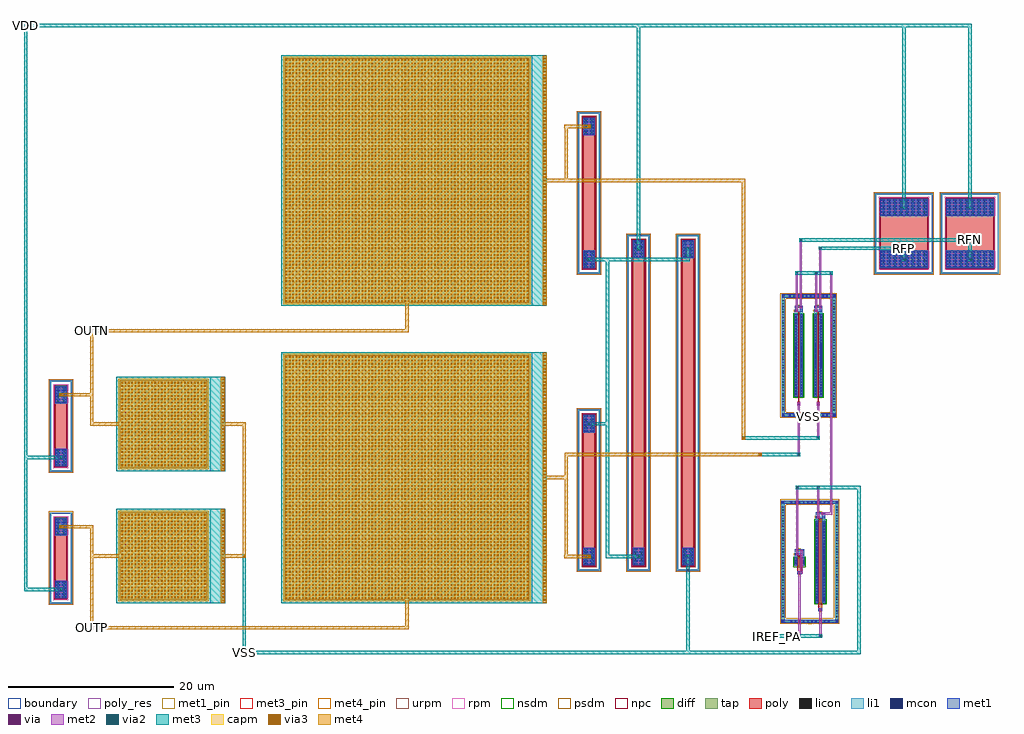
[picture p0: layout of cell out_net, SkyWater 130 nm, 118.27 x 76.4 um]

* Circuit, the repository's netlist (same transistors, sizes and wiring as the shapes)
.subckt out_net OUTP OUTN RFP RFN IREF_PA VDD VSS
XRLp VDD OUTP VSS sky130_fd_pr__res_high_po_1p41 L=5.6 mult=1 m=1
XRLn VDD OUTN VSS sky130_fd_pr__res_high_po_1p41 L=5.6 mult=1 m=1
XCLp OUTP VSS sky130_fd_pr__cap_mim_m3_1 W=11 L=11 MF=1 m=1
XCLn OUTN VSS sky130_fd_pr__cap_mim_m3_1 W=11 L=11 MF=1 m=1
XCcp OUTP PG sky130_fd_pr__cap_mim_m3_1 W=31 L=31 MF=1 m=1
XCcn OUTN NG sky130_fd_pr__cap_mim_m3_1 W=31 L=31 MF=1 m=1
XRbp PG VB VSS sky130_fd_pr__res_xhigh_po_1p41 L=14.1 mult=1 m=1
XRbn NG VB VSS sky130_fd_pr__res_xhigh_po_1p41 L=14.1 mult=1 m=1
XRv1 VDD VB VSS sky130_fd_pr__res_xhigh_po_1p41 L=35.25 mult=1 m=1
XRv2 VB VSS VSS sky130_fd_pr__res_xhigh_po_1p41 L=35.25 mult=1 m=1
XPA1 RFN PG PTAIL VSS sky130_fd_pr__nfet_01v8 W=10 L=0.15 nf=1 m=1
XPA2 RFP NG PTAIL VSS sky130_fd_pr__nfet_01v8 W=10 L=0.15 nf=1 m=1
XRPAp VDD RFP VSS sky130_fd_pr__res_high_po_5p73 L=4.3 mult=1 m=1
XRPAn VDD RFN VSS sky130_fd_pr__res_high_po_5p73 L=4.3 mult=1 m=1
XPAB IREF_PA IREF_PA VSS VSS sky130_fd_pr__nfet_01v8 W=1 L=0.5 nf=1 m=1
XPAT PTAIL IREF_PA VSS VSS sky130_fd_pr__nfet_01v8 W=10 L=0.5 nf=1 m=1
.ends out_net

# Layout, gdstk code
import gdstk
lib = gdstk.Library(unit=1e-6, precision=5e-09)
def R(c, l, rs):  # rectangles x0, y0, x1, y1
    for r in rs: c.add(gdstk.rectangle(r[:2], r[2:], *l))
def A(c, l, x, y, w, h, nx, ny, dx, dy):  # array of equal rectangles
    R(c, l, [(x+i*dx, y+j*dy, x+i*dx+w, y+j*dy+h) for i in range(nx) for j in range(ny)])
def P(c, l, *ps):  # polygons
    for p in ps: c.add(gdstk.Polygon(p, *l))
diff = (65, 20)
tap = (65, 44)
poly_res = (66, 13)
poly = (66, 20)
licon = (66, 44)
li1 = (67, 20)
mcon = (67, 44)
met1_pin = (68, 16)
met1 = (68, 20)
via = (68, 44)
met2 = (69, 20)
via2 = (69, 44)
met3_pin = (70, 16)
met3 = (70, 20)
via3 = (70, 44)
met4_pin = (71, 16)
met4 = (71, 20)
urpm = (79, 20)
rpm = (86, 20)
capm = (89, 44)
nsdm = (93, 44)
psdm = (94, 20)
npc = (95, 20)
boundary = (235, 4)

out_net = lib.new_cell('out_net')
A(out_net, diff, 81.585, -2.405, 0.41, 0.41, 10, 2, 0.5, 14.42)
A(out_net, diff, 80.59, -1.825, 0.41, 0.41, 1, 40, 0, 0.34)
A(out_net, diff, 87.08, -1.825, 0.41, 0.41, 1, 40, 0, 0.34)
A(out_net, diff, 81.415, 22.595, 0.41, 0.41, 10, 2, 0.5, 14.42)
A(out_net, diff, 80.595, 23.175, 0.41, 0.41, 1, 40, 0, 0.34)
A(out_net, diff, 86.735, 23.175, 0.41, 0.41, 1, 40, 0, 0.34)
R(out_net, diff, [(81.585,-2.405,86.495,-1.995), (80.59,-1.825,81,11.845), (87.08,-1.825,87.49,11.845), (84.67,0,85.95,10), (82.13,4.5,83.41,5.5), (81.585,12.015,86.495,12.425), (81.415,22.595,86.325,23.005), (80.595,23.175,81.005,36.845), (86.735,23.175,87.145,36.845), (82.13,25,83.23,35), (84.5,25,85.6,35), (81.415,37.015,86.325,37.425)])
P(out_net, diff, [(87.49,12.425),(80.59,12.425),(80.59,-1.995),(81,-1.995),(81,12.015),(87.08,12.015),(87.08,-1.995),(81,-1.995),(80.59,-1.995),(80.59,-2.405),(87.49,-2.405)],
  [(87.145,37.425),(80.595,37.425),(80.595,23.005),(81.005,23.005),(81.005,37.015),(86.735,37.015),(86.735,23.005),(81.005,23.005),(80.595,23.005),(80.595,22.595),(87.145,22.595)])
A(out_net, tap, 55.915, 3.915, 2.71, 0.17, 3, 1, 6, 0)
R(out_net, tap, [(-8.085,-0.085,-5.375,0.085), (-8.085,0.085,-7.915,10.805), (-5.545,0.085,-5.375,10.805), (55.915,4.085,56.085,23.305), (58.455,4.085,58.625,23.305), (61.915,4.085,62.085,44.455), (64.455,4.085,64.625,44.455), (67.915,4.085,68.085,44.455), (70.455,4.085,70.625,44.455), (-8.085,10.805,-5.375,10.975), (-8.085,15.915,-5.375,16.085), (-8.085,16.085,-7.915,26.805), (-5.545,16.085,-5.375,26.805), (55.915,23.305,58.625,23.475), (-8.085,26.805,-5.375,26.975), (55.915,39.915,58.625,40.085), (91.915,39.915,98.945,40.085), (99.915,39.915,106.945,40.085), (55.915,40.085,56.085,59.305), (58.455,40.085,58.625,59.305), (91.915,40.085,92.085,49.505), (98.775,40.085,98.945,49.505), (99.915,40.085,100.085,49.505), (106.775,40.085,106.945,49.505), (61.915,44.455,64.625,44.625), (67.915,44.455,70.625,44.625), (91.915,49.505,98.945,49.675), (99.915,49.505,106.945,49.675), (55.915,59.305,58.625,59.475)])
R(out_net, poly_res, [(-7.435,2.645,-6.025,8.245), (56.565,6.645,57.975,20.745), (62.565,6.645,63.975,41.895), (68.565,6.645,69.975,41.895), (-7.435,18.645,-6.025,24.245), (56.565,42.645,57.975,56.745), (92.565,42.645,98.295,46.945), (100.565,42.645,106.295,46.945)])
R(out_net, poly, [(85.06,-0.98,85.56,-0.65), (85.145,-0.98,85.475,-0.65), (85.06,-0.65,85.56,-0.25), (85.06,-0.25,85.56,10.25), (-7.435,0.565,-6.025,10.325), (82.52,3.52,83.02,3.85), (82.605,3.52,82.935,3.85), (82.52,3.85,83.02,4.25), (82.52,4.25,83.02,5.75), (56.565,4.565,57.975,22.825), (62.565,4.565,63.975,43.975), (68.565,4.565,69.975,43.975), (-7.435,16.565,-6.025,26.325), (82.515,24.02,82.845,24.35), (82.515,24.02,82.845,24.35), (84.885,24.02,85.215,24.35), (84.885,24.02,85.215,24.35), (82.605,24.35,82.755,24.75), (84.975,24.35,85.125,24.75), (82.605,24.75,82.755,35.25), (84.975,24.75,85.125,35.25), (56.565,40.565,57.975,58.825), (92.565,40.565,98.295,49.025), (100.565,40.565,106.295,49.025)])
A(out_net, licon, 81.705, -2.285, 0.17, 0.17, 10, 2, 0.5, 14.42)
A(out_net, licon, 80.71, -1.705, 0.17, 0.17, 1, 40, 0, 0.34)
A(out_net, licon, 87.2, -1.705, 0.17, 0.17, 1, 40, 0, 0.34)
A(out_net, licon, -7.495, -0.085, 0.17, 0.17, 5, 2, 0.34, 10.89)
A(out_net, licon, 84.81, 0.325, 0.17, 0.17, 1, 28, 0, 0.34)
A(out_net, licon, 85.64, 0.325, 0.17, 0.17, 1, 28, 0, 0.34)
A(out_net, licon, -8.085, 0.43, 0.17, 0.17, 1, 30, 0, 0.34)
A(out_net, licon, -5.545, 0.43, 0.17, 0.17, 1, 30, 0, 0.34)
A(out_net, licon, 56.505, 3.915, 0.17, 0.17, 5, 2, 0.34, 19.39)
A(out_net, licon, 62.505, 3.915, 0.17, 0.17, 5, 2, 0.34, 40.54)
A(out_net, licon, 68.505, 3.915, 0.17, 0.17, 5, 2, 0.34, 40.54)
A(out_net, licon, 55.915, 4.43, 0.17, 0.17, 1, 55, 0, 0.34)
A(out_net, licon, 58.455, 4.43, 0.17, 0.17, 1, 55, 0, 0.34)
A(out_net, licon, 61.915, 4.465, 0.17, 0.17, 1, 117, 0, 0.34)
A(out_net, licon, 64.455, 4.465, 0.17, 0.17, 1, 117, 0, 0.34)
A(out_net, licon, 67.915, 4.465, 0.17, 0.17, 1, 117, 0, 0.34)
A(out_net, licon, 70.455, 4.465, 0.17, 0.17, 1, 117, 0, 0.34)
A(out_net, licon, -7.495, 15.915, 0.17, 0.17, 5, 2, 0.34, 10.89)
A(out_net, licon, -8.085, 16.43, 0.17, 0.17, 1, 30, 0, 0.34)
A(out_net, licon, -5.545, 16.43, 0.17, 0.17, 1, 30, 0, 0.34)
A(out_net, licon, 81.535, 22.715, 0.17, 0.17, 10, 2, 0.5, 14.42)
A(out_net, licon, 80.715, 23.295, 0.17, 0.17, 1, 40, 0, 0.34)
A(out_net, licon, 86.855, 23.295, 0.17, 0.17, 1, 40, 0, 0.34)
A(out_net, licon, 82.27, 25.325, 0.17, 0.17, 1, 28, 0, 0.34)
A(out_net, licon, 82.92, 25.325, 0.17, 0.17, 1, 28, 0, 0.34)
A(out_net, licon, 84.64, 25.325, 0.17, 0.17, 1, 28, 0, 0.34)
A(out_net, licon, 85.29, 25.325, 0.17, 0.17, 1, 28, 0, 0.34)
A(out_net, licon, 56.505, 39.915, 0.17, 0.17, 5, 2, 0.34, 19.39)
A(out_net, licon, 92.455, 39.915, 0.17, 0.17, 18, 2, 0.34, 9.59)
A(out_net, licon, 100.455, 39.915, 0.17, 0.17, 18, 2, 0.34, 9.59)
A(out_net, licon, 55.915, 40.43, 0.17, 0.17, 1, 55, 0, 0.34)
A(out_net, licon, 58.455, 40.43, 0.17, 0.17, 1, 55, 0, 0.34)
A(out_net, licon, 91.915, 40.46, 0.17, 0.17, 1, 26, 0, 0.34)
A(out_net, licon, 98.775, 40.46, 0.17, 0.17, 1, 26, 0, 0.34)
A(out_net, licon, 99.915, 40.46, 0.17, 0.17, 1, 26, 0, 0.34)
A(out_net, licon, 106.775, 40.46, 0.17, 0.17, 1, 26, 0, 0.34)
A(out_net, licon, 92.85, 40.645, 0.19, 2, 8, 2, 0.71, 6.3)
A(out_net, licon, 100.85, 40.645, 0.19, 2, 8, 2, 0.71, 6.3)
R(out_net, licon, [(85.225,-0.9,85.395,-0.73), (-7.18,0.645,-6.99,2.645), (-6.47,0.645,-6.28,2.645), (82.685,3.6,82.855,3.77), (56.82,4.645,57.01,6.645), (57.53,4.645,57.72,6.645), (62.82,4.645,63.01,6.645), (63.53,4.645,63.72,6.645), (68.82,4.645,69.01,6.645), (69.53,4.645,69.72,6.645), (82.27,4.915,82.44,5.085), (83.1,4.915,83.27,5.085), (-7.18,8.245,-6.99,10.245), (-6.47,8.245,-6.28,10.245), (-7.18,16.645,-6.99,18.645), (-6.47,16.645,-6.28,18.645), (56.82,20.745,57.01,22.745), (57.53,20.745,57.72,22.745), (82.595,24.1,82.765,24.27), (84.965,24.1,85.135,24.27), (-7.18,24.245,-6.99,26.245), (-6.47,24.245,-6.28,26.245), (56.82,40.645,57.01,42.645), (57.53,40.645,57.72,42.645), (62.82,41.895,63.01,43.895), (63.53,41.895,63.72,43.895), (68.82,41.895,69.01,43.895), (69.53,41.895,69.72,43.895), (56.82,56.745,57.01,58.745), (57.53,56.745,57.72,58.745)])
A(out_net, li1, 81.625, -2.365, 0.33, 0.33, 10, 2, 0.5, 14.42)
A(out_net, li1, 80.63, -1.785, 0.33, 0.33, 1, 40, 0, 0.34)
A(out_net, li1, 87.12, -1.785, 0.33, 0.33, 1, 40, 0, 0.34)
A(out_net, li1, 84.81, 0.235, 0.17, 0.17, 1, 27, 0, 0.36)
A(out_net, li1, 85.64, 0.235, 0.17, 0.17, 1, 27, 0, 0.36)
A(out_net, li1, 84.73, 0.245, 0.33, 0.33, 1, 28, 0, 0.34)
A(out_net, li1, 85.56, 0.245, 0.33, 0.33, 1, 28, 0, 0.34)
A(out_net, li1, 55.915, 3.915, 2.71, 0.17, 3, 1, 6, 0)
A(out_net, li1, 56.565, 4.565, 1.41, 2.16, 3, 1, 6, 0)
A(out_net, li1, 81.455, 22.635, 0.33, 0.33, 10, 2, 0.5, 14.42)
A(out_net, li1, 80.635, 23.215, 0.33, 0.33, 1, 40, 0, 0.34)
A(out_net, li1, 86.775, 23.215, 0.33, 0.33, 1, 40, 0, 0.34)
A(out_net, li1, 82.27, 25.235, 0.17, 0.17, 1, 27, 0, 0.36)
A(out_net, li1, 82.92, 25.235, 0.17, 0.17, 1, 27, 0, 0.36)
A(out_net, li1, 84.64, 25.235, 0.17, 0.17, 1, 27, 0, 0.36)
A(out_net, li1, 85.29, 25.235, 0.17, 0.17, 1, 27, 0, 0.36)
A(out_net, li1, 82.19, 25.245, 0.33, 0.33, 1, 28, 0, 0.34)
A(out_net, li1, 82.84, 25.245, 0.33, 0.33, 1, 28, 0, 0.34)
A(out_net, li1, 84.56, 25.245, 0.33, 0.33, 1, 28, 0, 0.34)
A(out_net, li1, 85.21, 25.245, 0.33, 0.33, 1, 28, 0, 0.34)
R(out_net, li1, [(80.59,-2.405,81,-1.995), (87.08,-2.405,87.49,-1.995), (81.625,-2.365,86.455,-2.035), (80.71,-2.285,80.88,-2.115), (80.71,-2.285,80.88,-2.115), (87.2,-2.285,87.37,-2.115), (87.2,-2.285,87.37,-2.115), (80.59,-1.995,81,12.015), (87.08,-1.995,87.49,12.015), (85.145,-0.98,85.475,-0.65), (-8.085,-0.085,-5.375,0.085), (84.73,0,85.06,10), (85.56,0,85.89,10), (-8.085,0.085,-7.915,10.805), (-5.545,0.085,-5.375,10.805), (84.81,0.235,84.98,9.765), (85.64,0.235,85.81,9.765), (-7.435,0.565,-6.025,2.725), (82.605,3.52,82.935,3.85), (55.915,4.085,56.085,23.305), (58.455,4.085,58.625,23.305), (61.915,4.085,62.085,44.455), (64.455,4.085,64.625,44.455), (67.915,4.085,68.085,44.455), (70.455,4.085,70.625,44.455), (82.19,4.5,82.52,5.5), (83.02,4.5,83.35,5.5), (82.27,4.735,82.44,4.905), (82.27,4.735,82.44,5.265), (83.1,4.735,83.27,4.905), (83.1,4.735,83.27,5.265), (82.19,4.835,82.52,5.165), (83.02,4.835,83.35,5.165), (82.27,5.095,82.44,5.265), (83.1,5.095,83.27,5.265), (82.19,5.5,82.52,6.015), (83.02,5.5,83.35,6.445), (82.27,5.845,82.44,6.015), (83.1,6.275,83.27,6.445), (-7.435,8.165,-6.025,10.325), (84.73,10,85.06,10.515), (85.56,10,85.89,10.945), (84.81,10.345,84.98,10.515), (85.64,10.775,85.81,10.945), (-8.085,10.805,-5.375,10.975), (80.59,12.015,81,12.425), (87.08,12.015,87.49,12.425), (81.625,12.055,86.455,12.385), (80.71,12.135,80.88,12.305), (80.71,12.135,80.88,12.305), (87.2,12.135,87.37,12.305), (87.2,12.135,87.37,12.305), (-8.085,15.915,-5.375,16.085), (-8.085,16.085,-7.915,26.805), (-5.545,16.085,-5.375,26.805), (-7.435,16.565,-6.025,18.725), (56.565,20.665,57.975,22.825), (80.595,22.595,81.005,23.005), (86.735,22.595,87.145,23.005), (81.455,22.635,86.285,22.965), (80.715,22.715,80.885,22.885), (80.715,22.715,80.885,22.885), (86.855,22.715,87.025,22.885), (86.855,22.715,87.025,22.885), (80.595,23.005,81.005,37.015), (86.735,23.005,87.145,37.015), (55.915,23.305,58.625,23.475), (82.515,24.02,82.845,24.35), (84.885,24.02,85.215,24.35), (-7.435,24.165,-6.025,26.325), (82.19,25,82.52,35), (82.84,25,83.17,35), (84.56,25,84.89,35), (85.21,25,85.54,35), (82.27,25.235,82.44,34.765), (82.92,25.235,83.09,34.765), (84.64,25.235,84.81,34.765), (85.29,25.235,85.46,34.765), (-8.085,26.805,-5.375,26.975), (82.19,35,82.52,35.515), (82.84,35,83.17,35.945), (84.56,35,84.89,35.515), (85.21,35,85.54,35.945), (82.27,35.345,82.44,35.515), (84.64,35.345,84.81,35.515), (82.92,35.775,83.09,35.945), (85.29,35.775,85.46,35.945), (80.595,37.015,81.005,37.425), (86.735,37.015,87.145,37.425), (81.455,37.055,86.285,37.385), (80.715,37.135,80.885,37.305), (80.715,37.135,80.885,37.305), (86.855,37.135,87.025,37.305), (86.855,37.135,87.025,37.305), (55.915,39.915,58.625,40.085), (91.915,39.915,98.945,40.085), (99.915,39.915,106.945,40.085), (55.915,40.085,56.085,59.305), (58.455,40.085,58.625,59.305), (91.915,40.085,92.085,49.505), (98.775,40.085,98.945,49.505), (99.915,40.085,100.085,49.505), (106.775,40.085,106.945,49.505), (56.565,40.565,57.975,42.725), (92.565,40.565,98.295,42.725), (100.565,40.565,106.295,42.725), (62.565,41.815,63.975,43.975), (68.565,41.815,69.975,43.975), (61.915,44.455,64.625,44.625), (67.915,44.455,70.625,44.625), (92.565,46.865,98.295,49.025), (100.565,46.865,106.295,49.025), (91.915,49.505,98.945,49.675), (99.915,49.505,106.945,49.675), (56.565,56.665,57.975,58.825), (55.915,59.305,58.625,59.475)])
A(out_net, mcon, 81.705, -2.285, 0.17, 0.17, 10, 2, 0.5, 14.42)
A(out_net, mcon, 84.81, 0.235, 0.17, 0.17, 1, 27, 0, 0.36)
A(out_net, mcon, 85.64, 0.235, 0.17, 0.17, 1, 27, 0, 0.36)
A(out_net, mcon, -7.355, 0.66, 0.17, 0.17, 4, 6, 0.36, 0.36)
A(out_net, mcon, 56.645, 4.66, 0.17, 0.17, 4, 6, 0.36, 0.36)
A(out_net, mcon, 62.645, 4.66, 0.17, 0.17, 4, 6, 0.36, 0.36)
A(out_net, mcon, 68.645, 4.66, 0.17, 0.17, 4, 6, 0.36, 0.36)
A(out_net, mcon, -7.355, 8.255, 0.17, 0.17, 4, 6, 0.36, 0.36)
A(out_net, mcon, -7.355, 16.66, 0.17, 0.17, 4, 6, 0.36, 0.36)
A(out_net, mcon, 56.645, 20.755, 0.17, 0.17, 4, 6, 0.36, 0.36)
A(out_net, mcon, 81.535, 22.715, 0.17, 0.17, 10, 2, 0.5, 14.42)
A(out_net, mcon, -7.355, 24.255, 0.17, 0.17, 4, 6, 0.36, 0.36)
A(out_net, mcon, 82.27, 25.235, 0.17, 0.17, 1, 27, 0, 0.36)
A(out_net, mcon, 82.92, 25.235, 0.17, 0.17, 1, 27, 0, 0.36)
A(out_net, mcon, 84.64, 25.235, 0.17, 0.17, 1, 27, 0, 0.36)
A(out_net, mcon, 85.29, 25.235, 0.17, 0.17, 1, 27, 0, 0.36)
A(out_net, mcon, 56.645, 40.66, 0.17, 0.17, 4, 6, 0.36, 0.36)
A(out_net, mcon, 92.645, 40.66, 0.17, 0.17, 16, 6, 0.36, 0.36)
A(out_net, mcon, 100.645, 40.66, 0.17, 0.17, 16, 6, 0.36, 0.36)
A(out_net, mcon, 62.645, 41.905, 0.17, 0.17, 4, 6, 0.36, 0.36)
A(out_net, mcon, 68.645, 41.905, 0.17, 0.17, 4, 6, 0.36, 0.36)
A(out_net, mcon, 92.645, 46.955, 0.17, 0.17, 16, 6, 0.36, 0.36)
A(out_net, mcon, 100.645, 46.955, 0.17, 0.17, 16, 6, 0.36, 0.36)
A(out_net, mcon, 56.645, 56.755, 0.17, 0.17, 4, 6, 0.36, 0.36)
R(out_net, mcon, [(80.71,-2.285,80.88,-2.115), (87.2,-2.285,87.37,-2.115), (85.225,-0.9,85.395,-0.73), (82.685,3.6,82.855,3.77), (69.185,3.915,69.355,4.085), (82.27,4.735,82.44,4.905), (83.1,4.735,83.27,4.905), (82.27,5.095,82.44,5.265), (83.1,5.095,83.27,5.265), (82.27,5.845,82.44,6.015), (83.1,6.275,83.27,6.445), (84.81,10.345,84.98,10.515), (85.64,10.775,85.81,10.945), (80.71,12.135,80.88,12.305), (87.2,12.135,87.37,12.305), (80.715,22.715,80.885,22.885), (86.855,22.715,87.025,22.885), (82.595,24.1,82.765,24.27), (84.965,24.1,85.135,24.27), (82.27,35.345,82.44,35.515), (84.64,35.345,84.81,35.515), (82.92,35.775,83.09,35.945), (85.29,35.775,85.46,35.945), (80.715,37.135,80.885,37.305), (86.855,37.135,87.025,37.305)])
R(out_net, met1_pin, [(83.905,-2.54,84.175,-2.27), (85.175,-1.115,85.445,-0.845), (82.635,3.385,82.905,3.655), (82.075,5.795,82.345,6.065), (82.635,6.37,82.905,6.64), (84.615,10.295,84.885,10.565), (85.175,10.87,85.445,11.14), (83.735,22.46,84.005,22.73), (82.545,23.885,82.815,24.155), (84.915,23.885,85.185,24.155), (82.075,35.295,82.345,35.565), (84.445,35.295,84.715,35.565), (82.545,35.87,82.815,36.14), (84.915,35.87,85.185,36.14)])
A(out_net, met1, 81.645, -2.345, 0.29, 0.29, 10, 2, 0.5, 14.42)
A(out_net, met1, 84.75, 0.175, 0.29, 0.29, 1, 27, 0, 0.36)
A(out_net, met1, 85.58, 0.175, 0.29, 0.29, 1, 27, 0, 0.36)
A(out_net, met1, 56.615, 4.595, 1.31, 2.105, 3, 1, 6, 0)
A(out_net, met1, 81.475, 22.655, 0.29, 0.29, 10, 2, 0.5, 14.42)
A(out_net, met1, 82.21, 25.175, 0.29, 0.29, 1, 27, 0, 0.36)
A(out_net, met1, 82.86, 25.175, 0.29, 0.29, 1, 27, 0, 0.36)
A(out_net, met1, 84.58, 25.175, 0.29, 0.29, 1, 27, 0, 0.36)
A(out_net, met1, 85.23, 25.175, 0.29, 0.29, 1, 27, 0, 0.36)
R(out_net, met1, [(80.59,-2.405,81,-1.995), (80.59,-2.405,81,-1.995), (81,-2.405,87.08,-1.995), (87.08,-2.405,87.49,-1.995), (87.08,-2.405,87.49,-1.995), (80.65,-2.345,80.94,-2.055), (87.14,-2.345,87.43,-2.055), (85.06,-0.98,85.56,-0.65), (85.165,-0.96,85.455,-0.67), (84.75,0,85.04,10), (85.58,0,85.87,10), (-7.385,0.595,-6.075,2.7), (82.52,3.52,83.02,3.85), (82.625,3.54,82.915,3.83), (69.11,3.855,69.43,4.145), (82.21,4.5,82.5,5.5), (83.04,4.5,83.33,5.5), (82.21,4.675,82.5,4.965), (83.04,4.675,83.33,4.965), (82.21,5.035,82.5,5.325), (83.04,5.035,83.33,5.325), (82.21,5.785,82.5,6.075), (82.21,5.785,83.33,6.075), (82.21,6.215,83.33,6.505), (83.04,6.215,83.33,6.505), (-7.385,8.19,-6.075,10.295), (84.75,10.285,85.04,10.575), (84.75,10.285,85.87,10.575), (84.75,10.715,85.87,11.005), (85.58,10.715,85.87,11.005), (80.59,12.015,81,12.425), (80.59,12.015,81,12.425), (81,12.015,87.08,12.425), (87.08,12.015,87.49,12.425), (87.08,12.015,87.49,12.425), (80.65,12.075,80.94,12.365), (87.14,12.075,87.43,12.365), (-7.385,16.595,-6.075,18.7), (56.615,20.69,57.925,22.795), (80.595,22.595,81.005,23.005), (80.595,22.595,81.005,23.005), (81.005,22.595,86.735,23.005), (86.735,22.595,87.145,23.005), (86.735,22.595,87.145,23.005), (80.655,22.655,80.945,22.945), (86.795,22.655,87.085,22.945), (82.515,24.02,82.845,24.35), (84.885,24.02,85.215,24.35), (82.535,24.04,82.825,24.33), (84.905,24.04,85.195,24.33), (-7.385,24.19,-6.075,26.295), (82.21,25,82.5,35), (82.86,25,83.15,35), (84.58,25,84.87,35), (85.23,25,85.52,35), (82.21,35.285,82.5,35.575), (82.21,35.285,83.15,35.575), (84.58,35.285,84.87,35.575), (84.58,35.285,85.52,35.575), (82.21,35.715,83.15,36.005), (82.86,35.715,83.15,36.005), (84.58,35.715,85.52,36.005), (85.23,35.715,85.52,36.005), (80.595,37.015,81.005,37.425), (80.595,37.015,81.005,37.425), (81.005,37.015,86.735,37.425), (86.735,37.015,87.145,37.425), (86.735,37.015,87.145,37.425), (80.655,37.075,80.945,37.365), (86.795,37.075,87.085,37.365), (56.615,40.595,57.925,42.7), (92.585,40.625,98.275,42.67), (100.585,40.625,106.275,42.67), (62.615,41.84,63.925,43.945), (68.615,41.84,69.925,43.945), (92.585,46.92,98.275,48.965), (100.585,46.92,106.275,48.965), (56.615,56.69,57.925,58.795)])
A(out_net, via, 57.195, 5.575, 0.15, 0.15, 3, 1, 6, 0)
R(out_net, via, [(85.235,-0.895,85.385,-0.745), (-6.805,1.575,-6.655,1.725), (82.695,3.605,82.845,3.755), (69.195,3.925,69.345,4.075), (82.445,5.855,82.595,6.005), (82.945,6.285,83.095,6.435), (-6.805,9.165,-6.655,9.315), (84.985,10.355,85.135,10.505), (85.485,10.785,85.635,10.935), (-6.805,17.575,-6.655,17.725), (57.195,21.665,57.345,21.815), (82.605,24.105,82.755,24.255), (84.975,24.105,85.125,24.255), (-6.805,25.165,-6.655,25.315), (82.355,35.355,82.505,35.505), (84.725,35.355,84.875,35.505), (82.855,35.775,83.005,35.925), (85.225,35.775,85.375,35.925), (57.195,41.575,57.345,41.725), (95.355,41.575,95.505,41.725), (103.355,41.575,103.505,41.725), (63.195,42.825,63.345,42.975), (69.195,42.825,69.345,42.975), (95.355,47.865,95.505,48.015), (103.355,47.865,103.505,48.015), (57.195,57.665,57.345,57.815)])
A(out_net, met2, 57.085, 5.51, 0.37, 0.28, 3, 1, 6, 0)
A(out_net, met2, 57.11, 5.52, 0.32, 0.26, 3, 1, 6, 0)
R(out_net, met2, [(82.585,-4.14,82.955,-3.86), (85.125,-4.14,85.495,-3.86), (82.64,-4.13,82.9,3.81), (85.18,-4.13,85.44,-0.69), (85.15,-0.95,85.47,-0.69), (-6.915,1.51,-6.545,1.79), (-6.89,1.52,-6.57,1.78), (82.61,3.55,82.93,3.81), (82.645,3.55,83.155,3.81), (82.89,3.55,83.15,6.49), (69.085,3.86,69.455,4.14), (69.11,3.87,69.43,4.13), (82.39,5.795,82.65,14.125), (82.36,5.8,82.68,6.06), (82.86,6.23,83.18,6.49), (-6.915,9.1,-6.545,9.38), (-6.89,9.11,-6.57,9.37), (84.9,10.3,85.22,10.56), (84.93,10.305,85.19,14.135), (85.4,10.73,85.72,10.99), (85.43,10.73,86.73,10.99), (86.47,10.73,86.73,40.13), (82.335,13.86,82.705,14.14), (84.875,13.86,85.245,14.14), (-6.915,17.51,-6.545,17.79), (-6.89,17.52,-6.57,17.78), (82.495,17.86,82.865,18.14), (82.55,17.87,82.81,24.31), (84.865,19.86,85.235,20.14), (84.92,19.87,85.18,24.31), (57.085,21.6,57.455,21.88), (57.11,21.61,57.43,21.87), (82.52,24.05,82.84,24.31), (84.89,24.05,85.21,24.31), (-6.915,25.1,-6.545,25.38), (-6.89,25.11,-6.57,25.37), (82.27,35.3,82.59,35.56), (84.64,35.3,84.96,35.56), (82.3,35.305,82.56,40.135), (84.67,35.305,84.93,40.135), (82.8,35.715,83.06,44.125), (85.17,35.715,85.43,43.125), (82.77,35.72,83.09,35.98), (85.14,35.72,85.46,35.98), (82.245,39.86,82.615,40.14), (84.615,39.86,84.985,40.14), (86.415,39.86,86.785,40.14), (57.085,41.51,57.455,41.79), (95.245,41.51,95.615,41.79), (103.245,41.51,103.615,41.79), (57.11,41.52,57.43,41.78), (95.27,41.52,95.59,41.78), (103.27,41.52,103.59,41.78), (63.085,42.76,63.455,43.04), (69.085,42.76,69.455,43.04), (63.11,42.77,63.43,43.03), (69.11,42.77,69.43,43.03), (85.115,42.86,85.485,43.14), (82.745,43.86,83.115,44.14), (95.245,47.8,95.615,48.08), (103.245,47.8,103.615,48.08), (95.27,47.81,95.59,48.07), (103.27,47.81,103.59,48.07), (57.085,57.6,57.455,57.88), (57.11,57.61,57.43,57.87)])
A(out_net, via2, 57.17, 5.55, 0.2, 0.2, 3, 1, 6, 0)
R(out_net, via2, [(82.67,-4.1,82.87,-3.9), (85.21,-4.1,85.41,-3.9), (-6.83,1.55,-6.63,1.75), (69.17,3.9,69.37,4.1), (-6.83,9.14,-6.63,9.34), (82.42,13.9,82.62,14.1), (84.96,13.9,85.16,14.1), (-6.83,17.55,-6.63,17.75), (82.58,17.9,82.78,18.1), (84.95,19.9,85.15,20.1), (57.17,21.64,57.37,21.84), (-6.83,25.14,-6.63,25.34), (82.33,39.9,82.53,40.1), (84.7,39.9,84.9,40.1), (86.5,39.9,86.7,40.1), (57.17,41.55,57.37,41.75), (95.33,41.55,95.53,41.75), (103.33,41.55,103.53,41.75), (63.17,42.8,63.37,43), (69.17,42.8,69.37,43), (85.2,42.9,85.4,43.1), (82.83,43.9,83.03,44.1), (95.33,47.84,95.53,48.04), (103.33,47.84,103.53,48.04), (57.17,57.64,57.37,57.84)])
R(out_net, met3_pin, [(15.37,-6.13,15.63,-5.87), (79.87,-4.13,80.13,-3.87), (95.3,42.87,95.56,43.13), (103.3,43.87,103.56,44.13), (-11.13,69.87,-10.87,70.13)])
A(out_net, met3, 57.105, 5.485, 0.33, 0.33, 3, 1, 6, 0)
R(out_net, met3, [(15.3,-6.2,90.2,-5.8), (15.3,-6.2,15.7,5.9), (89.8,-6.2,90.2,14.2), (69.07,-6.195,69.47,5.855), (79.805,-4.2,85.515,-3.8), (82.605,-4.165,82.935,-3.835), (85.145,-4.165,85.475,-3.835), (0,0,13.16,11.4), (20,0,52.16,30.4), (-11.2,1.445,-10.8,70.195), (-11.195,1.45,-6.525,1.85), (-6.895,1.485,-6.565,1.815), (69.105,3.835,69.435,4.165), (57.02,5.4,57.52,5.9), (59.295,5.45,63.465,5.85), (59.3,5.45,59.7,41.85), (57.08,5.49,57.46,5.81), (15.31,5.54,15.69,5.86), (-6.98,8.99,-6.48,9.49), (-6.895,9.075,-6.565,9.405), (-6.92,9.08,-6.54,9.4), (82.32,13.8,90.2,14.2), (82.355,13.835,82.685,14.165), (84.895,13.835,85.225,14.165), (0,16,13.16,27.4), (-11.195,17.45,-6.525,17.85), (-6.895,17.485,-6.565,17.815), (77.8,17.8,82.88,18.2), (82.515,17.835,82.845,18.165), (77.81,17.84,78.19,18.16), (75.795,19.8,85.245,20.2), (84.885,19.835,85.215,20.165), (75.81,19.84,76.19,20.16), (57.065,21.54,59.695,21.94), (57.105,21.575,57.435,21.905), (-6.98,24.99,-6.48,25.49), (-6.895,25.075,-6.565,25.405), (-6.92,25.08,-6.54,25.4), (20,36,52.16,66.4), (82.235,39.8,86.805,40.2), (82.265,39.835,82.595,40.165), (84.635,39.835,84.965,40.165), (86.435,39.835,86.765,40.165), (95.23,41.445,95.63,43.195), (103.23,41.445,103.63,44.195), (57.065,41.45,59.695,41.85), (59.295,41.45,69.465,41.85), (69.07,41.455,69.47,43.105), (57.105,41.485,57.435,41.815), (95.265,41.485,95.595,41.815), (103.265,41.485,103.595,41.815), (63.07,42.7,63.47,70.2), (63.105,42.735,63.435,43.065), (69.105,42.735,69.435,43.065), (85.095,42.8,95.625,43.2), (85.135,42.835,85.465,43.165), (82.73,43.8,103.63,44.2), (82.765,43.835,83.095,44.165), (95.23,47.74,95.63,70.2), (103.23,47.74,103.63,70.2), (95.265,47.775,95.595,48.105), (103.265,47.775,103.595,48.105), (57.02,57.49,57.52,57.99), (57.105,57.575,57.435,57.905), (57.08,57.58,57.46,57.9), (-11.195,69.8,103.635,70.2)])
A(out_net, via3, 12.8, 0.2, 0.2, 0.2, 1, 28, 0, 0.4)
A(out_net, via3, 51.8, 0.3, 0.2, 0.2, 1, 75, 0, 0.4)
A(out_net, via3, 20.5, 0.5, 0.2, 0.2, 74, 74, 0.4, 0.4)
A(out_net, via3, 0.6, 0.6, 0.2, 0.2, 26, 26, 0.4, 0.4)
A(out_net, via3, 12.8, 16.2, 0.2, 0.2, 1, 28, 0, 0.4)
A(out_net, via3, 0.6, 16.6, 0.2, 0.2, 26, 26, 0.4, 0.4)
A(out_net, via3, 51.8, 36.3, 0.2, 0.2, 1, 75, 0, 0.4)
A(out_net, via3, 20.5, 36.5, 0.2, 0.2, 74, 74, 0.4, 0.4)
R(out_net, via3, [(57.17,5.55,57.37,5.75), (15.4,5.6,15.6,5.8), (-6.83,9.14,-6.63,9.34), (77.9,17.9,78.1,18.1), (75.9,19.9,76.1,20.1), (-6.83,25.14,-6.63,25.34), (57.17,57.64,57.37,57.84)])
R(out_net, met4_pin, [(-3.13,-3.13,-2.87,-2.87), (-3.13,32.87,-2.87,33.13)])
R(out_net, met4, [(-3.2,-3.2,35.4,-2.8), (-3.2,-3.2,-2.8,5.9), (35,-3.2,35.4,15.4), (12.66,0.06,13.14,11.34), (51.66,0.06,52.14,30.34), (0.395,0.395,11.005,11.005), (20.395,0.395,50.005,30.005), (54.3,5.445,54.7,15.395), (54.295,5.45,57.465,5.85), (57.105,5.485,57.435,5.815), (-3.2,5.5,-2.8,9.44), (-3.2,5.5,5.9,5.9), (12.7,5.5,15.7,5.9), (15.3,5.5,15.7,21.9), (15.335,5.535,15.665,5.865), (-6.925,9.04,-2.795,9.44), (-6.895,9.075,-6.565,9.405), (51.7,15,54.7,15.4), (54.3,15,54.7,18.2), (12.66,16.06,13.14,27.34), (0.395,16.395,11.005,27.005), (54.3,17.8,78.2,18.2), (77.835,17.835,78.165,18.165), (75.8,19.8,76.2,51.4), (75.835,19.835,76.165,20.165), (-3.2,21.5,-2.8,33.2), (-3.2,21.5,-2.8,25.44), (-3.2,21.5,5.9,21.9), (12.7,21.5,15.7,21.9), (-6.925,25.04,-2.795,25.44), (-6.895,25.075,-6.565,25.405), (-3.2,32.8,35.4,33.2), (35,32.8,35.4,51.4), (51.66,36.06,52.14,66.34), (20.395,36.395,50.005,66.005), (51.7,51,54.7,51.4), (54.3,51,76.2,51.4), (54.3,51,54.7,57.94), (54.295,57.54,57.465,57.94), (57.105,57.575,57.435,57.905)])
R(out_net, urpm, [(56.365,4.365,58.175,23.025), (62.365,4.365,64.175,44.175), (68.365,4.365,70.175,44.175), (56.365,40.365,58.175,59.025)])
R(out_net, rpm, [(-7.635,0.365,-5.825,10.525), (-7.635,16.365,-5.825,26.525), (92.365,40.365,98.495,49.225), (100.365,40.365,106.495,49.225)])
R(out_net, capm, [(0.2,0.2,11.2,11.2), (20.2,0.2,50.2,30.2), (0.2,16.2,11.2,27.2), (20.2,36.2,50.2,66.2)])
R(out_net, nsdm, [(84.54,-0.13,86.08,10.13), (82,4.37,83.54,5.63), (82,24.87,83.36,35.13), (84.37,24.87,85.73,35.13)])
R(out_net, psdm, [(-8.21,-0.21,-5.25,11.1), (55.79,3.79,58.75,23.6), (61.79,3.79,64.75,44.75), (67.79,3.79,70.75,44.75), (-8.21,15.79,-5.25,27.1), (55.79,39.79,58.75,59.6), (91.79,39.79,99.07,49.8), (99.79,39.79,107.07,49.8)])
P(out_net, psdm, [(87.62,12.555),(80.46,12.555),(80.46,-1.865),(81.13,-1.865),(81.13,11.885),(86.95,11.885),(86.95,-1.865),(81.13,-1.865),(80.46,-1.865),(80.46,-2.535),(87.62,-2.535)],
  [(87.275,37.555),(80.465,37.555),(80.465,23.135),(81.135,23.135),(81.135,36.885),(86.605,36.885),(86.605,23.135),(81.135,23.135),(80.465,23.135),(80.465,22.465),(87.275,22.465)])
A(out_net, npc, 92.75, 40.545, 0.39, 2.2, 8, 2, 0.71, 6.3)
A(out_net, npc, 100.75, 40.545, 0.39, 2.2, 8, 2, 0.71, 6.3)
R(out_net, npc, [(85.125,-1,85.495,-0.63), (85.125,-1,85.495,-0.63), (-7.53,0.47,-5.93,10.42), (-7.28,0.545,-6.89,2.745), (-6.57,0.545,-6.18,2.745), (82.585,3.5,82.955,3.87), (82.585,3.5,82.955,3.87), (56.47,4.47,58.07,22.92), (62.47,4.47,64.07,44.07), (68.47,4.47,70.07,44.07), (56.72,4.545,57.11,6.745), (57.43,4.545,57.82,6.745), (62.72,4.545,63.11,6.745), (63.43,4.545,63.82,6.745), (68.72,4.545,69.11,6.745), (69.43,4.545,69.82,6.745), (-7.28,8.145,-6.89,10.345), (-6.57,8.145,-6.18,10.345), (-7.53,16.47,-5.93,26.42), (-7.28,16.545,-6.89,18.745), (-6.57,16.545,-6.18,18.745), (56.72,20.645,57.11,22.845), (57.43,20.645,57.82,22.845), (82.495,24,82.865,24.37), (82.495,24,82.865,24.37), (84.865,24,85.235,24.37), (84.865,24,85.235,24.37), (-7.28,24.145,-6.89,26.345), (-6.57,24.145,-6.18,26.345), (56.47,40.47,58.07,58.92), (92.47,40.47,98.39,49.12), (100.47,40.47,106.39,49.12), (56.72,40.545,57.11,42.745), (57.43,40.545,57.82,42.745), (62.72,41.795,63.11,43.995), (63.43,41.795,63.82,43.995), (68.72,41.795,69.11,43.995), (69.43,41.795,69.82,43.995), (56.72,56.645,57.11,58.845), (57.43,56.645,57.82,58.845)])
R(out_net, boundary, [(-8,0,-5.46,10.89), (0,0,11.4,11.4), (20,0,50.4,30.4), (56,4,58.54,23.39), (62,4,64.54,44.54), (68,4,70.54,44.54), (-8,16,-5.46,26.89), (0,16,11.4,27.4), (20,36,50.4,66.4), (56,40,58.54,59.39), (92,40,98.86,49.59), (100,40,106.86,49.59)])
out_net.add(gdstk.Label('OUTP', (-3,-3), layer=71, texttype=5))
out_net.add(gdstk.Label('OUTN', (-3,33), layer=71, texttype=5))
out_net.add(gdstk.Label('RFP', (95.43,43), layer=70, texttype=5))
out_net.add(gdstk.Label('RFN', (103.43,44), layer=70, texttype=5))
out_net.add(gdstk.Label('IREF_PA', (80,-4), layer=70, texttype=5))
out_net.add(gdstk.Label('VDD', (-11,70), layer=70, texttype=5))
out_net.add(gdstk.Label('VSS', (15.5,-6), layer=70, texttype=5))
out_net.add(gdstk.Label('VSS', (84.04,-2.405), layer=68, texttype=5))
out_net.add(gdstk.Label('VSS', (83.87,22.595), layer=68, texttype=5))

lib.write_gds('out_net.gds')
